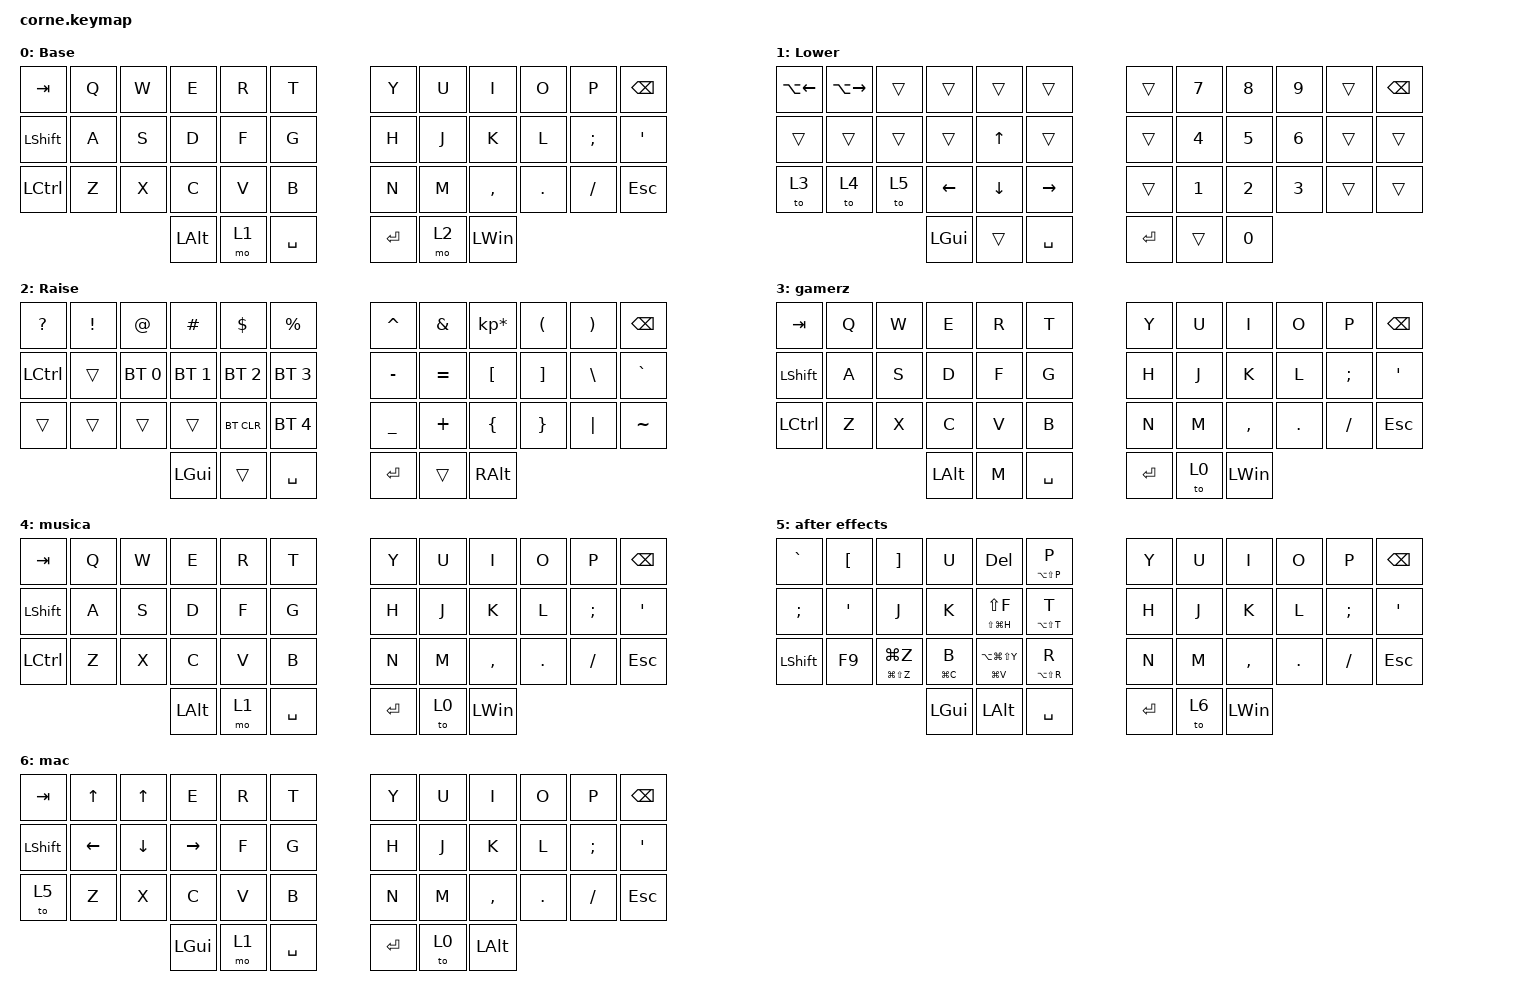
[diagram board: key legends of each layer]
/*
 * Copyright (c) 2020 The ZMK Contributors
 *
 * SPDX-License-Identifier: MIT
 */

#include <behaviors.dtsi>
#include <dt-bindings/zmk/bt.h>
#include <dt-bindings/zmk/keys.h>

/ {
    behaviors {
        LongPress: LongPress {
            compatible = "zmk,behavior-hold-tap";
            label = "LONGPRESS";
            bindings = <&kp>, <&kp>;

            #binding-cells = <2>;
            tapping-term-ms = <350>;
            flavor = "tap-preferred";
        };
    };

    keymap {
        compatible = "zmk,keymap";

        default_layer {
            // -----------------------------------------------------------------------------------------
            // |  TAB |  Q  |  W  |  E  |  R  |  T  |   |  Y  |  U   |  I  |  O  |  P  | BKSP |
            // | CTRL |  A  |  S  |  D  |  F  |  G  |   |  H  |  J   |  K  |  L  |  ;  |  '   |
            // | SHFT |  Z  |  X  |  C  |  V  |  B  |   |  N  |  M   |  ,  |  .  |  /  | ESC  |
            //                    | GUI | LWR | SPC |   | ENT | RSE  | ALT |

            display-name = "Base";
            bindings = <
&kp TAB         &kp Q  &kp W  &kp E         &kp R  &kp T        &kp Y    &kp U  &kp I         &kp O    &kp P     &kp BSPC
&kp LEFT_SHIFT  &kp A  &kp S  &kp D         &kp F  &kp G        &kp H    &kp J  &kp K         &kp L    &kp SEMI  &kp SQT
&kp LCTRL       &kp Z  &kp X  &kp C         &kp V  &kp B        &kp N    &kp M  &kp COMMA     &kp DOT  &kp FSLH  &kp ESCAPE
                              &kp LEFT_ALT  &mo 1  &kp SPACE    &kp RET  &mo 2  &kp LEFT_WIN
            >;
        };

        lower_layer {
            // -----------------------------------------------------------------------------------------
            // |  TAB |  1  |  2  |  3  |  4  |  5  |   |  6  |  7  |  8  |  9  |  0  | BKSP |
            // | BTCLR| BT1 | BT2 | BT3 | BT4 | BT5 |   | LFT | DWN |  UP | RGT |     |      |
            // | SHFT |     |     |     |     |     |   |     |     |     |     |     |      |
            //                    | GUI |     | SPC |   | ENT |     | ALT |

            display-name = "Lower";
            bindings = <
&kp LA(LEFT_ARROW)  &kp LA(RIGHT)  &trans  &trans    &trans        &trans       &trans   &kp N7        &kp N8        &kp N9        &trans  &kp BSPC
&trans              &trans         &trans  &trans    &kp UP_ARROW  &trans       &trans   &kp NUMBER_4  &kp NUMBER_5  &kp NUMBER_6  &trans  &trans
&to 3               &to 4          &to 5   &kp LEFT  &kp DOWN      &kp RIGHT    &trans   &kp NUMBER_1  &kp NUMBER_2  &kp NUMBER_3  &trans  &trans
                                           &kp LGUI  &trans        &kp SPACE    &kp RET  &trans        &kp NUMBER_0
            >;
        };

        raise_layer {
            // -----------------------------------------------------------------------------------------
            // |  TAB |  !  |  @  |  #  |  $  |  %  |   |  ^  |  &  |  *  |  (  |  )  | BKSP |
            // | CTRL |     |     |     |     |     |   |  -  |  =  |  [  |  ]  |  \  |  `   |
            // | SHFT |     |     |     |     |     |   |  _  |  +  |  {  |  }  | "|" |  ~   |
            //                    | GUI |     | SPC |   | ENT |     | ALT |

            display-name = "Raise";
            bindings = <
&kp QUESTION  &kp EXCL  &kp AT        &kp HASH        &kp DLLR      &kp PRCNT       &kp CARET  &kp AMPS   &kp KP_MULTIPLY  &kp LPAR  &kp RPAR  &kp BSPC
&kp LCTRL     &trans    &bt BT_SEL 0  &bt BT_SEL 1    &bt BT_SEL 2  &bt BT_SEL 3    &kp MINUS  &kp EQUAL  &kp LBKT         &kp RBKT  &kp BSLH  &kp GRAVE
&trans        &trans    &trans        &trans          &bt BT_CLR    &bt BT_SEL 4    &kp UNDER  &kp PLUS   &kp LBRC         &kp RBRC  &kp PIPE  &kp TILDE
                                      &kp LGUI        &trans        &kp SPACE       &kp RET    &trans     &kp RALT
            >;
        };

        gamerz {
            display-name = "gamerz";
            bindings = <
&kp TAB         &kp Q  &kp W  &kp E         &kp R  &kp T        &kp Y    &kp U  &kp I         &kp O    &kp P     &kp BSPC
&kp LEFT_SHIFT  &kp A  &kp S  &kp D         &kp F  &kp G        &kp H    &kp J  &kp K         &kp L    &kp SEMI  &kp SQT
&kp LCTRL       &kp Z  &kp X  &kp C         &kp V  &kp B        &kp N    &kp M  &kp COMMA     &kp DOT  &kp FSLH  &kp ESC
                              &kp LEFT_ALT  &kp M  &kp SPACE    &kp RET  &to 0  &kp LEFT_WIN
            >;
        };

        musica {
            display-name = "musica";
            bindings = <
&kp TAB         &kp Q  &kp W  &kp E         &kp R  &kp T        &kp Y    &kp U  &kp I         &kp O    &kp P     &kp BSPC
&kp LEFT_SHIFT  &kp A  &kp S  &kp D         &kp F  &kp G        &kp H    &kp J  &kp K         &kp L    &kp SEMI  &kp SQT
&kp LCTRL       &kp Z  &kp X  &kp C         &kp V  &kp B        &kp N    &kp M  &kp COMMA     &kp DOT  &kp FSLH  &kp ESC
                              &kp LEFT_ALT  &mo 1  &kp SPACE    &kp RET  &to 0  &kp LEFT_WIN
            >;
        };

        af {
            display-name = "after effects";
            bindings = <
&kp GRAVE       &kp LEFT_BRACKET  &kp RIGHT_BRACKET           &kp U               &kp DELETE                      &LongPress LA(LS(P)) P    &kp Y    &kp U  &kp I         &kp O    &kp P     &kp BSPC
&kp SEMICOLON   &kp SINGLE_QUOTE  &kp J                       &kp K               &LongPress LS(LG(H)) LS(F)      &LongPress LA(LS(T)) T    &kp H    &kp J  &kp K         &kp L    &kp SEMI  &kp SQT
&kp LEFT_SHIFT  &kp F9            &LongPress LG(LS(Z)) LG(Z)  &LongPress LG(C) B  &LongPress LG(V) LA(LG(LS(Y)))  &LongPress LA(LS(R)) R    &kp N    &kp M  &kp COMMA     &kp DOT  &kp FSLH  &kp ESCAPE
                                                              &kp LEFT_GUI        &kp LEFT_ALT                    &kp SPACE                 &kp RET  &to 6  &kp LEFT_WIN
            >;
        };

        mac {
            display-name = "mac";
            bindings = <
&kp TAB         &kp UP_ARROW    &kp UP_ARROW    &kp E            &kp R  &kp T        &kp Y    &kp U  &kp I         &kp O    &kp P     &kp BSPC
&kp LEFT_SHIFT  &kp LEFT_ARROW  &kp DOWN_ARROW  &kp RIGHT_ARROW  &kp F  &kp G        &kp H    &kp J  &kp K         &kp L    &kp SEMI  &kp SQT
&to 5           &kp Z           &kp X           &kp C            &kp V  &kp B        &kp N    &kp M  &kp COMMA     &kp DOT  &kp FSLH  &kp ESCAPE
                                                &kp LEFT_GUI     &mo 1  &kp SPACE    &kp RET  &to 0  &kp LEFT_ALT
            >;
        };
    };
};
